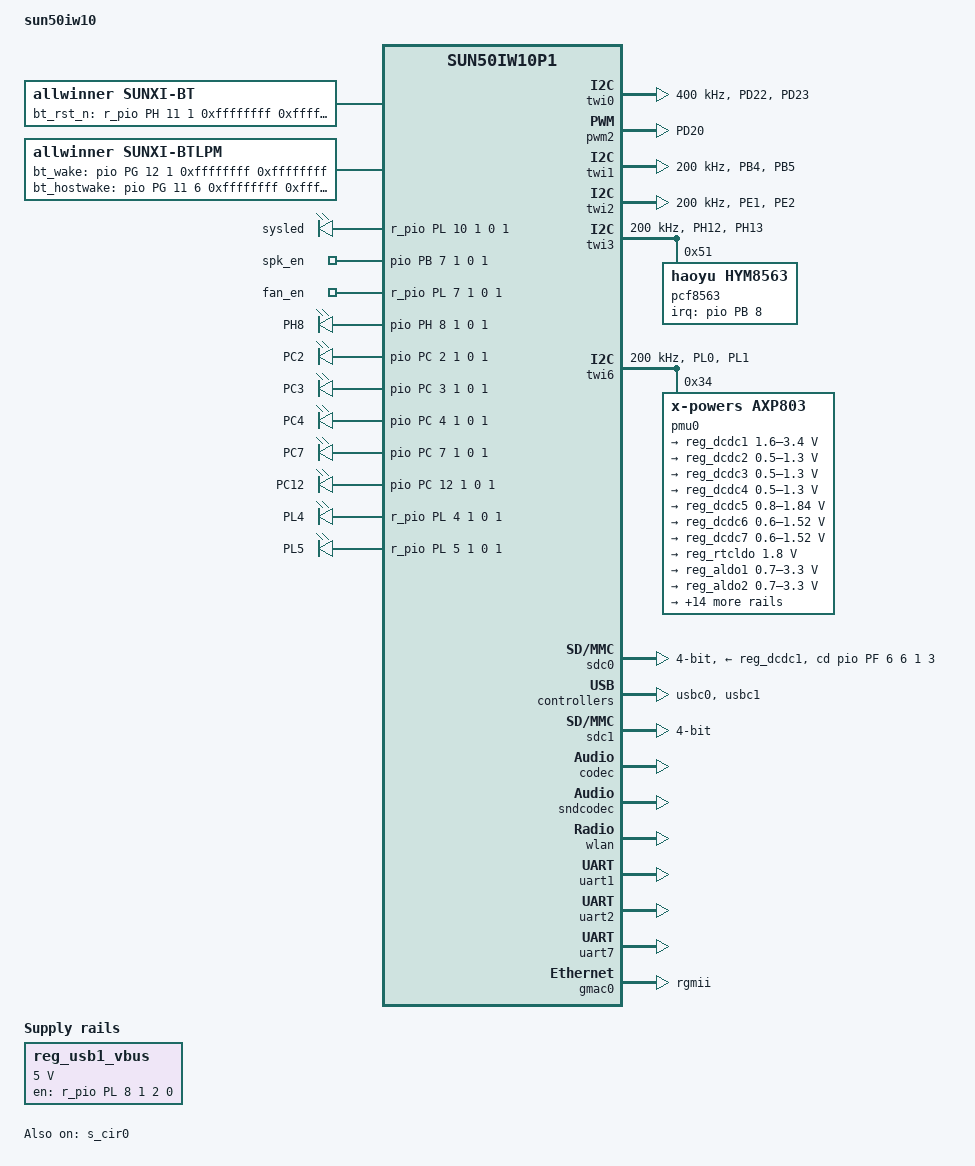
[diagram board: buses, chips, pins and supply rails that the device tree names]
/*
 * Allwinner Technology CO., Ltd. sun50iw10p1 soc board.
 *
 * soc board support.
 */

/dts-v1/;
#include "sun50iw10p1.dtsi"
#include "dt-bindings/input/linux-event-codes.h"

/{
	model = "sun50iw10";
	compatible = "allwinner,a133", "arm,sun50iw10p1";

	aliases {
		pmu0 = &pmu0;
		standby_param = &standby_param;
	};

	reg_usb1_vbus: usb1-vbus {
		compatible = "regulator-fixed";
		gpio = <&r_pio PL 8 1 2 0 1>;
		regulator-name = "usb1-vbus";
		regulator-min-microvolt = <5000000>;
		regulator-max-microvolt = <5000000>;
		regulator-enable-ramp-delay = <1000>;
		enable-active-high;
	};

	soc: soc@03000000 {

		r_pio: pinctrl@07022000 {

			s_twi0_pins_a: s_twi0@0 {
				allwinner,pins = "PL0", "PL1";
				allwinner,pname = "s_twi0_scl", "s_twi0_sda";
				allwinner,function = "s_twi0";
				allwinner,muxsel = <2>;
				allwinner,drive = <1>;
				allwinner,pull = <1>;
			};

			s_twi0_pins_b: s_twi0@1 {
				allwinner,pins = "PL0", "PL1";
				allwinner,function = "io_disabled";
				allwinner,muxsel = <7>;
				allwinner,drive = <1>;
				allwinner,pull = <0>;
			};
		};
		pio: pinctrl@0300b000 {
                        twi0_pins_a: twi0@0 {
                                allwinner,pins = "PD22", "PD23";
                                allwinner,pname = "twi0_scl", "twi0_sda";
                                allwinner,function = "twi0";
                                allwinner,muxsel = <4>;
                                allwinner,drive = <1>;
                                allwinner,pull = <0>;
                        };

                        twi0_pins_b: twi0@1 {
                                allwinner,pins = "PD22", "PD23";
                                allwinner,function = "io_disabled";
                                allwinner,muxsel = <7>;
                                allwinner,drive = <1>;
                                allwinner,pull = <0>;
                        };

			twi1_pins_a: twi1@0 {
				allwinner,pins = "PB4", "PB5";
				allwinner,pname = "twi1_scl", "twi1_sda";
				allwinner,function = "twi1";
				allwinner,muxsel = <2>;
				allwinner,drive = <1>;
				allwinner,pull = <0>;
			};

			twi1_pins_b: twi1@1 {
				allwinner,pins = "PB4", "PB5";
				allwinner,function = "io_disabled";
				allwinner,muxsel = <7>;
				allwinner,drive = <1>;
				allwinner,pull = <0>;
			};

			twi2_pins_a: twi2@0 {
				allwinner,pins = "PE1", "PE2";
				allwinner,pname = "twi2_scl", "twi2_sda";
				allwinner,function = "twi2";
				allwinner,muxsel = <2>;
				allwinner,drive = <1>;
				allwinner,pull = <0>;
			};

			twi2_pins_b: twi2@1 {
				allwinner,pins = "PE1", "PE2";
				allwinner,function = "io_disabled";
				allwinner,muxsel = <7>;
				allwinner,drive = <1>;
				allwinner,pull = <0>;
			};

			twi3_pins_a: twi3@0 {
				allwinner,pins = "PH12", "PH13";
				allwinner,pname = "twi3_scl", "twi3_sda";
				allwinner,function = "twi3";
				allwinner,muxsel = <3>;
				allwinner,drive = <1>;
				allwinner,pull = <1>;
			};

			twi3_pins_b: twi3@1 {
				allwinner,pins = "PH12", "PH13";
				allwinner,function = "io_disabled";
				allwinner,muxsel = <7>;
				allwinner,drive = <1>;
				allwinner,pull = <0>;
			};
/*
			pwm0_pin_a: pwm0@0 {
				//allwinner,pins = "PD23";
				allwinner,function = "pwm0";
				allwinner,muxsel = <0x02>;
				allwinner,drive = <0x2>;
				allwinner,pull = <0>;
				allwinner,data = <0xffffffff>;
			};

			pwm0_pin_b: pwm0@1 {
				//allwinner,pins = "PD23";
				allwinner,function = "io_disabled";
				allwinner,muxsel = <0x07>;
				allwinner,drive = <0x2>;
				allwinner,pull = <0>;
				allwinner,data = <0xffffffff>;
			};

			pwm1_pin_a: pwm1@0 {
				//allwinner,pins = "PD22";
				allwinner,function = "pwm1";
				allwinner,muxsel = <0x02>;
				allwinner,drive = <0x2>;
				allwinner,pull = <0>;
				allwinner,data = <0xffffffff>;
			};

			pwm1_pin_b: pwm1@1 {
				//allwinner,pins = "PD22";
				allwinner,function = "io_disabled";
				allwinner,muxsel = <0x07>;
				allwinner,drive = <0x2>;
				allwinner,pull = <0>;
				allwinner,data = <0xffffffff>;
			};
*/
			pwm2_pin_a: pwm2@0 {
				allwinner,pins = "PD20";
				allwinner,function = "pwm2";
				allwinner,muxsel = <0x03>;
				allwinner,drive = <0x2>;
				allwinner,pull = <0>;
				allwinner,data = <0xffffffff>;
			};

			pwm2_pin_b: pwm2@1 {
				allwinner,pins = "PD20";
				allwinner,function = "io_disabled";
				allwinner,muxsel = <0x07>;
				allwinner,drive = <0x2>;
				allwinner,pull = <0>;
				allwinner,data = <0xffffffff>;
			};
/*
			pwm3_pin_a: pwm3@0 {
				allwinner,pins = "PD21";
				allwinner,function = "pwm3";
				allwinner,muxsel = <0x03>;
				allwinner,drive = <0x2>;
				allwinner,pull = <0>;
				allwinner,data = <0xffffffff>;
			};

			pwm3_pin_b: pwm3@1 {
				allwinner,pins = "PD21";
				allwinner,function = "io_disabled";
				allwinner,muxsel = <0x07>;
				allwinner,drive = <0x2>;
				allwinner,pull = <0>;
				allwinner,data = <0xffffffff>;
			};
*/
			spi0_pins_a: spi0@0 {
				// allwinner,pins = "PC2", "PC4", "PC12", "PC15", "PC16";
				allwinner,pins = "PC2", "PC4", "PC12";
				// allwinner,pname = "spi0_mosi", "spi0_miso",
				// 		  "spi0_sclk", "spi0_wp", "spi0_hold";
				allwinner,pname = "spi0_mosi", "spi0_miso", "spi0_sclk";
				allwinner,function = "spi0";
				allwinner,muxsel = <4>;
				allwinner,drive = <1>;
				allwinner,pull = <0>;
			};

			spi0_pins_b: spi0@1 {
				allwinner,pins = "PC3", "PC7";
				allwinner,pname = "spi0_cs0", "spi0_cs1";
				allwinner,function = "spi0";
				allwinner,muxsel = <4>;
				allwinner,drive = <1>;
				allwinner,pull = <1>;	/* only CS should be pulled up */
			};

			spi0_pins_c: spi0@2 {
				// allwinner,pins = "PC2", "PC3", "PC4", "PC7", "PC12", "PC15", "PC16";
				allwinner,pins = "PC2", "PC3", "PC4", "PC7", "PC12";
				allwinner,function = "io_disabled";
				allwinner,muxsel = <7>;
				allwinner,drive = <1>;
				allwinner,pull = <0>;
			};
/*
			spi1_pins_a: spi1@0 {
				allwinner,pins = "PD11", "PD12", "PD13";
				allwinner,pname = "spi1_sclk", "spi1_mosi",
						  "spi1_miso";
				allwinner,function = "spi1";
				allwinner,muxsel = <4>;
				allwinner,drive = <1>;
				allwinner,pull = <0>;
			};

			spi1_pins_b: spi1@1 {
				allwinner,pins = "PD10";
				allwinner,pname = "spi1_cs0";
				allwinner,function = "spi1";
				allwinner,muxsel = <4>;
				allwinner,drive = <1>;
				allwinner,pull = <1>;	// only CS should be pulled up 
			};

			spi1_pins_c: spi1@2 {
				allwinner,pins = "PD10", "PD11", "PD12", "PD13";
				allwinner,function = "io_disabled";
				allwinner,muxsel = <7>;
				allwinner,drive = <1>;
				allwinner,pull = <0>;
			};

                        uart3_pins_a: uart3@0 {
                                allwinner,pins = "PD14", "PD15";
                                allwinner,pname = "uart3_tx", "uart3_rx";
                                allwinner,function = "uart3";
                                allwinner,muxsel = <4>;
                                allwinner,drive = <1>;
                                allwinner,pull = <1>;
                        };

                        uart3_pins_b: uart3@1 {
                                allwinner,pins = "PD14", "PD15";
                                allwinner,function = "io_disabled";
                                allwinner,muxsel = <7>;
                                allwinner,drive = <1>;
                                allwinner,pull = <0>;
                        };

			uart4_pins_a: uart4@0 {
                                allwinner,pins = "PD18", "PD19";
                                allwinner,pname = "uart4_tx", "uart4_rx";
                                allwinner,function = "uart4";
                                allwinner,muxsel = <4>;
                                allwinner,drive = <1>;
                                allwinner,pull = <1>;
                        };

                        uart4_pins_b: uart4@1 {
                                allwinner,pins = "PD18", "PD19";
                                allwinner,pins = "PD18", "PD19";
                                allwinner,function = "io_disabled";
                                allwinner,muxsel = <7>;
                                allwinner,drive = <1>;
                                allwinner,pull = <0>;
                        };
*/
		};

		twi0: twi@0x05002000{
			clock-frequency = <400000>;
			pinctrl-0 = <&twi0_pins_a>;
			pinctrl-1 = <&twi0_pins_b>;
			status = "okay";
		};

		spi0: spi@05010000 {
                        #address-cells = <1>;
                        #size-cells = <0>;
                        compatible = "allwinner,sun50i-spi";
                        device_type = "spi0";
                        reg = <0x0 0x05010000 0x0 0x1000>;
                        interrupts = <GIC_SPI 13 IRQ_TYPE_LEVEL_HIGH>;
                        clocks = <&clk_pll_periph0>, <&clk_spi0>;
                        clock-frequency = <100000000>;
                        pinctrl-names = "default", "sleep";
                        pinctrl-0 = <&spi0_pins_a &spi0_pins_b>;
                        pinctrl-1 = <&spi0_pins_c>;
                        spi0_cs_number = <1>;
                        spi0_cs_bitmap = <1>;
						spi_slave_mode = <0>;
                        //status = "okay";
                        status = "disabled";
						/*
                        spi_uart {
                                compatible = "wkmic,wk2124spi";
                                reg = <0>;
                                spi-max-frequency = <10000000>;
                                //irq_gpio = <&pio PH 11 6 0xffffffff 0xffffffff 0>;
                        };
						*/

						dh2228@2 {
                        	compatible = "rohm,dh2228fv";
                        	reg = <0>;
                        	spi-max-frequency = <100000>;
                		};

                };
/*
                pwm3: pwm3@0300a000 {
                        pinctrl-names = "active", "sleep";
                        pinctrl-0 = <&pwm3_pin_a>;
                        pinctrl-1 = <&pwm3_pin_b>;
						status = "disabled";
                };
*/
                pwm2: pwm2@0300a000 {
                        pinctrl-names = "active", "sleep";
                        pinctrl-0 = <&pwm2_pin_a>;
                        pinctrl-1 = <&pwm2_pin_b>;
						status = "okay";
                };

		twi1: twi@0x05002400{
			clock-frequency = <200000>;
			pinctrl-0 = <&twi1_pins_a>;
			pinctrl-1 = <&twi1_pins_b>;
			status = "okay";
			// EXTEND GPIO
		};

		twi2: twi@0x05002800{
			clock-frequency = <200000>;
			pinctrl-0 = <&twi2_pins_a>;
			pinctrl-1 = <&twi2_pins_b>;
			twi-supply = <&reg_dldo2>;
			status = "okay";
			// CAMERA1

			// CAMERA2
		};

		twi3: twi@0x05002c00{
			clock-frequency = <200000>;
			pinctrl-0 = <&twi3_pins_a>;
			pinctrl-1 = <&twi3_pins_b>;
			status = "okay";
			// RTC
			pcf8563@51 {
					compatible = "haoyu,hym8563";
					reg = <0x51>;
					interrupt-parent = <&pio>;
					interrupts = <PB 8 IRQ_TYPE_LEVEL_LOW>;
					status = "okay";
					wakeup-source;
			};
		};

		twi6: s_twi@0x07081400{
			clock-frequency = <200000>;
			pinctrl-0 = <&s_twi0_pins_a>;
			pinctrl-1 = <&s_twi0_pins_b>;
			twi_drv_used = <1>;
			status = "okay";
			no_suspend = <1>;

			pmu0: pmu@34 {
				compatible = "x-powers,axp803";
				reg = <0x34>;
				status = "okay";
				interrupts = <0 IRQ_TYPE_LEVEL_LOW>;
				interrupt-parent = <&nmi_intc>;
				x-powers,drive-vbus-en;
				pmu_reset = <0>;
				pmu_irq_wakeup = <1>;
				pmu_hot_shutdown = <1>;

				wakeup-source;

				ac_power_supply: ac-power-supply {
					compatible = "x-powers,axp803-ac-power-supply";
					status = "okay";

					pmu_ac_vol = <4600>;
					pmu_ac_cur = <3000>;

					wakeup_ac_in;
					wakeup_ac_out;
				};

				usb_power_supply: usb_power_supply {
					compatible = "x-powers,axp803-usb-power-supply";
					status = "disabled";

					pmu_usbpc_vol = <4600>;
					pmu_usbpc_cur = <3000>;
					pmu_usbad_vol = <4600>;
					pmu_usbad_cur = <2500>;

					wakeup_usb_in;
					wakeup_usb_out;
				};

				battery_power_supply: battery-power-supply {
					compatible = "x-powers,axp803-battery-power-supply";
					status = "okay";

					pmu_chg_ic_temp = <0>;
					pmu_battery_rdc= <93>;
					pmu_battery_cap = <5067>;
					pmu_runtime_chgcur = <1000>;
					pmu_suspend_chgcur = <2000>;
					pmu_shutdown_chgcur = <2000>;
					pmu_init_chgvol = <4200>;
					pmu_battery_warning_level1 = <15>;
					pmu_battery_warning_level2 = <0>;
					pmu_chgled_func = <0>;
					pmu_chgled_type = <0>;
					ocv_coulumb_100 = <1>;
					pmu_bat_para1 = <0>;
					pmu_bat_para2 = <0>;
					pmu_bat_para3 = <0>;
					pmu_bat_para4 = <0>;
					pmu_bat_para5 = <6>;
					pmu_bat_para6 = <8>;
					pmu_bat_para7 = <9>;
					pmu_bat_para8 = <10>;
					pmu_bat_para9 = <11>;
					pmu_bat_para10 = <12>;
					pmu_bat_para11 = <13>;
					pmu_bat_para12 = <15>;
					pmu_bat_para13 = <18>;
					pmu_bat_para14 = <23>;
					pmu_bat_para15 = <29>;
					pmu_bat_para16 = <44>;
					pmu_bat_para17 = <50>;
					pmu_bat_para18 = <58>;
					pmu_bat_para19 = <65>;
					pmu_bat_para20 = <70>;
					pmu_bat_para21 = <75>;
					pmu_bat_para22 = <80>;
					pmu_bat_para23 = <83>;
					pmu_bat_para24 = <84>;
					pmu_bat_para25 = <86>;
					pmu_bat_para26 = <90>;
					pmu_bat_para27 = <94>;
					pmu_bat_para28 = <97>;
					pmu_bat_para29 = <99>;
					pmu_bat_para30 = <100>;
					pmu_bat_para31 = <100>;
					pmu_bat_para32 = <100>;

					pmu_bat_temp_enable = <0>;
					pmu_bat_charge_ltf = <1105>;
					pmu_bat_charge_htf = <121>;
					pmu_bat_shutdown_ltf = <1381>;
					pmu_bat_shutdown_htf = <89>;
					pmu_bat_temp_para1 = <2814>;
					pmu_bat_temp_para2 = <2202>;
					pmu_bat_temp_para3 = <1737>;
					pmu_bat_temp_para4 = <1381>;
					pmu_bat_temp_para5 = <1105>;
					pmu_bat_temp_para6 = <890>;
					pmu_bat_temp_para7 = <722>;
					pmu_bat_temp_para8 = <484>;
					pmu_bat_temp_para9 = <332>;
					pmu_bat_temp_para10 = <233>;
					pmu_bat_temp_para11 = <196>;
					pmu_bat_temp_para12 = <166>;
					pmu_bat_temp_para13 = <141>;
					pmu_bat_temp_para14 = <121>;
					pmu_bat_temp_para15 = <89>;
					pmu_bat_temp_para16 = <66>;

					wakeup_bat_out;
					/* wakeup_bat_in; */
					/* wakeup_bat_charging; */
					/* wakeup_bat_charge_over; */
					/* wakeup_low_warning1; */
					/* wakeup_low_warning2; */
					/* wakeup_bat_untemp_work; */
					/* wakeup_bat_ovtemp_work; */
					/* wakeup_bat_untemp_chg; */
					/* wakeup_bat_ovtemp_chg; */
				};

				powerkey0: powerkey@0 {
					status = "okay";
					compatible = "x-powers,axp2101-pek";
					pmu_powkey_off_time = <6000>;
					pmu_powkey_off_func = <0>;
					pmu_powkey_off_en = <1>;
					pmu_powkey_long_time = <1500>;
					pmu_powkey_on_time = <512>;
					wakeup_rising;
					wakeup_falling;
				};

				regulator0: regulators@0 {
					reg_dcdc1: dcdc1 {
						regulator-name = "axp803-dcdc1";
						regulator-min-microvolt = <1600000>;
						regulator-max-microvolt = <3400000>;
						regulator-ramp-delay = <250>;
						regulator-enable-ramp-delay = <1000>;
						regulator-boot-on;
						regulator-always-on;
					};
					reg_dcdc2: dcdc2 {
						regulator-name = "axp803-dcdc2";
						regulator-min-microvolt = <500000>;
						regulator-max-microvolt = <1300000>;
						regulator-ramp-delay = <250>;
						regulator-enable-ramp-delay = <1000>;
						regulator-boot-on;
						regulator-always-on;
					};
					reg_dcdc3: dcdc3 {
						regulator-name = "axp803-dcdc3";
						regulator-min-microvolt = <500000>;
						regulator-max-microvolt = <1300000>;
						regulator-ramp-delay = <250>;
						regulator-enable-ramp-delay = <1000>;
						regulator-boot-on;
						regulator-always-on;
					};
					reg_dcdc4: dcdc4 {
						regulator-name = "axp803-dcdc4";
						regulator-min-microvolt = <500000>;
						regulator-max-microvolt = <1300000>;
						regulator-ramp-delay = <250>;
						regulator-enable-ramp-delay = <1000>;
						regulator-boot-on;
						regulator-always-on;
					};
					reg_dcdc5: dcdc5 {
						regulator-name = "axp803-dcdc5";
						regulator-min-microvolt = <800000>;
						regulator-max-microvolt = <1840000>;
						regulator-ramp-delay = <250>;
						regulator-enable-ramp-delay = <1000>;
						regulator-always-on;
					};
					reg_dcdc6: dcdc6 {
						regulator-name = "axp803-dcdc6";
						regulator-min-microvolt = <600000>;
						regulator-max-microvolt = <1520000>;
						regulator-ramp-delay = <250>;
						regulator-enable-ramp-delay = <1000>;
					};
					reg_dcdc7: dcdc7 {
						regulator-name = "axp803-dcdc7";
						regulator-min-microvolt = <600000>;
						regulator-max-microvolt = <1520000>;
						regulator-ramp-delay = <250>;
						regulator-enable-ramp-delay = <1000>;
					};
					reg_rtcldo: rtcldo {
						/* RTC_LDO is a fixed, always-on regulator */
						regulator-name = "axp803-rtcldo";
						regulator-min-microvolt = <1800000>;
						regulator-max-microvolt = <1800000>;
						regulator-boot-on;
						regulator-always-on;
					};
					reg_aldo1: aldo1 {
						regulator-name = "axp803-aldo1";
						regulator-min-microvolt = <700000>;
						regulator-max-microvolt = <3300000>;
						regulator-enable-ramp-delay = <1000>;
						regulator-boot-on;
						regulator-always-on;
					};
					reg_aldo2: aldo2 {
						regulator-name = "axp803-aldo2";
						regulator-min-microvolt = <700000>;
						regulator-max-microvolt = <3300000>;
						regulator-enable-ramp-delay = <1000>;
						regulator-always-on;
					};
					reg_aldo3: aldo3 {
						regulator-name = "axp803-aldo3";
						regulator-min-microvolt = <700000>;
						regulator-max-microvolt = <3300000>;
						regulator-enable-ramp-delay = <1000>;
						regulator-always-on;
						regulator-boot-on;
					};
					reg_dldo1: dldo1 {
						regulator-name = "axp803-dldo1";
						regulator-min-microvolt = <1800000>;
						regulator-max-microvolt = <1900000>;
						regulator-enable-ramp-delay = <1000>;
						regulator-always-on;
						regulator-boot-on;
					};
					reg_dldo2: dldo2 {
						regulator-name = "axp803-dldo2";
						regulator-min-microvolt = <700000>;
						regulator-max-microvolt = <4200000>;
						regulator-enable-ramp-delay = <1000>;
						regulator-always-on;
						regulator-boot-on;
					};
					reg_dldo3: dldo3 {
						regulator-name = "axp803-dldo3";
						regulator-min-microvolt = <700000>;
						regulator-max-microvolt = <3300000>;
						regulator-enable-ramp-delay = <1000>;
					};
					reg_dldo4: dldo4 {
						regulator-name = "axp803-dldo4";
						regulator-min-microvolt = <700000>;
						regulator-max-microvolt = <3300000>;
						regulator-enable-ramp-delay = <1000>;
					};
					reg_eldo1: eldo1 {
						regulator-name = "axp803-eldo1";
						regulator-min-microvolt = <700000>;
						regulator-max-microvolt = <1900000>;
						regulator-enable-ramp-delay = <1000>;
					};
					reg_eldo2: eldo2 {
						regulator-name = "axp803-eldo2";
						regulator-min-microvolt = <700000>;
						regulator-max-microvolt = <1900000>;
						regulator-enable-ramp-delay = <1000>;
					};
					reg_eldo3: eldo3 {
						regulator-name = "axp803-eldo3";
						regulator-min-microvolt = <700000>;
						regulator-max-microvolt = <1900000>;
						regulator-enable-ramp-delay = <1000>;
						regulator-always-on;
						regulator-boot-on;
					};
					reg_fldo1: fldo1 {
						regulator-name = "axp803-fldo1";
						regulator-min-microvolt = <700000>;
						regulator-max-microvolt = <1450000>;
						regulator-enable-ramp-delay = <1000>;
						regulator-always-on;
					};
					reg_fldo2: fldo2 {
						regulator-name = "axp803-fldo2";
						regulator-min-microvolt = <700000>;
						regulator-max-microvolt = <1450000>;
						regulator-enable-ramp-delay = <1000>;
					};
					reg_ldoio0: ldoio0 {
						regulator-name = "axp803-ldoio0";
						regulator-min-microvolt = <700000>;
						regulator-max-microvolt = <3300000>;
						regulator-enable-ramp-delay = <1000>;
						regulator-boot-on;
						regulator-always-on;
					};
					reg_ldoio1: ldoio1 {
						regulator-name = "axp803-ldoio1";
						regulator-min-microvolt = <700000>;
						regulator-max-microvolt = <3300000>;
						regulator-enable-ramp-delay = <1000>;
					};
					reg_dc1sw: dc1sw {
						regulator-name = "axp803-dc1sw";
						regulator-enable-ramp-delay = <1000>;
					};
					reg_drivevbus: drivevbus {
						regulator-name = "axp803-drivevbus";
						regulator-enable-ramp-delay = <1000>;
					};
				};

				virtual-dcdc1 {
					compatible = "xpower-vregulator,dcdc1";
					dcdc1-supply = <&reg_dcdc1>;
				};
				virtual-dcdc2 {
					compatible = "xpower-vregulator,dcdc2";
					dcdc2-supply = <&reg_dcdc2>;
				};
				virtual-dcdc3 {
					compatible = "xpower-vregulator,dcdc3";
					dcdc3-supply = <&reg_dcdc3>;
				};
				virtual-dcdc4 {
					compatible = "xpower-vregulator,dcdc4";
					dcdc4-supply = <&reg_dcdc4>;
				};
				virtual-dcdc5 {
					compatible = "xpower-vregulator,dcdc5";
					dcdc5-supply = <&reg_dcdc5>;
				};
				virtual-dcdc6 {
					compatible = "xpower-vregulator,dcdc6";
					dcdc6-supply = <&reg_dcdc6>;
				};
				virtual-dcdc7 {
					compatible = "xpower-vregulator,dcdc7";
					dcdc7-supply = <&reg_dcdc7>;
				};
				virtual-rtcldo {
					compatible = "xpower-vregulator,rtcldo";
					rtcldo-supply = <&reg_rtcldo>;
				};
				virtual-aldo1 {
					compatible = "xpower-vregulator,aldo1";
					aldo1-supply = <&reg_aldo1>;
				};
				virtual-aldo2 {
					compatible = "xpower-vregulator,aldo2";
					aldo2-supply = <&reg_aldo2>;
				};
				virtual-aldo3 {
					compatible = "xpower-vregulator,aldo3";
					aldo3-supply = <&reg_aldo3>;
				};
				virtual-dldo1 {
					compatible = "xpower-vregulator,dldo1";
					dldo1-supply = <&reg_dldo1>;
				};
				virtual-dldo2 {
					compatible = "xpower-vregulator,dldo2";
					dldo2-supply = <&reg_dldo2>;
				};
				virtual-dldo3 {
					compatible = "xpower-vregulator,dldo3";
					dldo3-supply = <&reg_dldo3>;
				};
				virtual-dldo4 {
					compatible = "xpower-vregulator,dldo4";
					dldo4-supply = <&reg_dldo4>;
				};
				virtual-eldo1 {
					compatible = "xpower-vregulator,eldo1";
					eldo1-supply = <&reg_eldo1>;
				};
				virtual-eldo2 {
					compatible = "xpower-vregulator,eldo2";
					eldo2-supply = <&reg_eldo2>;
				};
				virtual-eldo3 {
					compatible = "xpower-vregulator,eldo3";
					eldo3-supply = <&reg_eldo3>;
				};
				virtual-fldo1 {
					compatible = "xpower-vregulator,fldo1";
					fldo1-supply = <&reg_fldo1>;
				};
				virtual-fldo2 {
					compatible = "xpower-vregulator,fldo2";
					fldo2-supply = <&reg_fldo2>;
				};
				virtual-ldoio0 {
					compatible = "xpower-vregulator,ldoio0";
					ldoio0-supply = <&reg_ldoio0>;
				};
				virtual-ldoio1 {
					compatible = "xpower-vregulator,ldoio1";
					ldoio1-supply = <&reg_ldoio1>;
				};
				virtual-dc1sw {
					compatible = "xpower-vregulator,dc1sw";
					dc1sw-supply = <&reg_dc1sw>;
				};
				virtual-drivevbus {
					compatible = "xpower-vregulator,drivevbus";
					drivevbus-supply = <&reg_drivevbus>;
				};

				axp_gpio0: axp_gpio@0 {
					gpio-controller;
					#size-cells = <0>;
					#gpio-cells = <6>;
					status = "disabled";
				};
			};
		};

		standby_param: standby_param {
			vdd-cpu = <0x00000006>;
			vdd-sys = <0x00000008>;
			vcc-pll = <0x00000100>;

			osc24m-on = <0x1>;
		};
/*
		pwm0: pwm0@0300a000 {
			pinctrl-names = "active", "sleep";
			pinctrl-0 = <&pwm0_pin_a>;
			pinctrl-1 = <&pwm0_pin_b>;
		};

		spi1: spi@05011000 {
			pinctrl-0 = <&spi1_pins_a &spi1_pins_b>;
			pinctrl-1 = <&spi1_pins_c>;
			spi_slave_mode = <0>;
			status = "disabled";
		};

		spi2: spi@05012000 {
			pinctrl-0 = <&spi2_pins_a &spi2_pins_b>;
			pinctrl-1 = <&spi2_pins_c>;
			spi_slave_mode = <0>;
			status = "disabled";
		};
*/
		gpadc:gpadc{
			channel_num = <1>;
			channel_select = <0x01>;
			channel_data_select = <0>;
			channel_compare_select = <0x01>;
			channel_cld_select = <0x01>;
			channel_chd_select = <0>;
			channel0_compare_lowdata = <1700000>;
			channel0_compare_higdata = <1200000>;
			status = "disabled";
		};

		sdc2: sdmmc@04022000 {
			non-removable;
			bus-width = <8>;
			mmc-ddr-1_8v;
			mmc-hs200-1_8v;
			mmc-hs400-1_8v;
			no-sdio;
			no-sd;
			ctl-spec-caps = <0x308>;
			cap-mmc-highspeed;
			sunxi-power-save-mode;
			sunxi-dis-signal-vol-sw;
			max-frequency = <100000000>;
			vmmc-supply = <&reg_dcdc1>;
			/*emmc io vol 3.3v*/
			/*vqmmc-supply = <&reg_aldo1>;*/
			/*emmc io vol 1.8v*/
			vqmmc-supply = <&reg_eldo1>;
			status = "disabled";
		};

		sdc0: sdmmc@04020000 {
			bus-width = <4>;
			/*non-removable;*/
			/*broken-cd;*/
			/*cd-inverted*/
			/*data3-detect;*/
			cd-used-24M;
			cd-gpios = <&pio PF 6 6 1 3 0xffffffff>;
			cap-sd-highspeed;
			sd-uhs-sdr50;
			sd-uhs-ddr50;
			sd-uhs-sdr104;
			no-sdio;
			no-mmc;
			sunxi-power-save-mode;
			/*sunxi-dis-signal-vol-sw;*/
			max-frequency = <150000000>;
			ctl-spec-caps = <0x8>;
			vmmc-supply = <&reg_dcdc1>;
			vqmmc33sw-supply = <&reg_dcdc1>;
			vdmmc33sw-supply = <&reg_dcdc1>;
			vqmmc18sw-supply = <&reg_eldo1>;
			vdmmc18sw-supply = <&reg_eldo1>;
			status = "okay";
		};

/*
 *usb_port_type: usb mode. 0-device, 1-host, 2-otg.
 *usb_detect_type: usb hotplug detect mode. 0-none, 1-vbus/id detect, 2-id/dpdm detect.
 *usb_id_gpio: gpio for id detect.
 *usb_det_vbus_gpio: gpio for id detect. gpio or "axp_ctrl";
 *usb_wakeup_suspend：0-SUPER_STANDBY, 1-USB_STANDBY.
 */
		usbc0:usbc0@0 {
			device_type = "usbc0";
			usb_port_type = <0x0>;
			usb_detect_type = <0x1>;
			usb_id_gpio = <&r_pio PL 9 0 0 0xffffffff 0xffffffff>;
			usb_det_vbus_gpio   = "axp_ctrl";
			usb_regulator_io = "nocare";
			det_vbus_supply = <&usb_power_supply>;
			usb_wakeup_suspend = <1>;
			usb_serial_unique = <0>;
			usb_serial_number = "20080411";
			rndis_wceis = <1>;
			status = "okay";
		};

		udc:udc-controller@0x05100000 {
			det_vbus_supply = <&usb_power_supply>;
		};

		ehci0:ehci0-controller@0x05101000 {
			drvvbus-supply = <&reg_drivevbus>;
		};

		ohci0:ohci0-controller@0x05101400 {
			drvvbus-supply = <&reg_drivevbus>;
		};

		usbc1:usbc1@0 {
			device_type = "usbc1";
			usb_regulator_io = "nocare";
			usb_wakeup_suspend = <0>;
			status = "okay";
		};

		ehci1:ehci1-controller@0x05200000 {
			drvvbus-supply = <&reg_usb1_vbus>;
		};

		ohci1:ohci1-controller@0x05200400 {
			drvvbus-supply = <&reg_usb1_vbus>;
		};

		sdc1: sdmmc@04021000 {
                        bus-width = <4>;
                        no-mmc;
                        no-sd;
                        cap-sd-highspeed;
                        /*sd-uhs-sdr12*/
                        /*sd-uhs-sdr25*/
                        sd-uhs-sdr50;
                        sd-uhs-ddr50;
                        sd-uhs-sdr104;
                        //sunxi-power-save-mode;
                        /*sunxi-dis-signal-vol-sw;*/
                        sdio-used-1v8;
                        cap-sdio-irq;
                        keep-power-in-suspend;
                        ignore-pm-notify;
                        max-frequency = <50000000>;
                        ctl-spec-caps = <0x8>;
                        status = "okay";

		};

		/* gpio-spk will output 0x00 when playing audio */
		/* Audio Driver Modules */
		codec:codec@0x05096000 {
			/* MIC and headphone gain setting */
			mic1gain 	= <0x1F>;
			mic2gain 	= <0x1F>;
			/* ADC/DAC DRC/HPF func enabled */
                        /* 0x1:DAP_HP_EN; 0x2:DAP_SPK_EN; 0x3:DAP_HPSPK_EN */
			adcdrc_cfg 	= <0x2>;
			adchpf_cfg 	= <0x1>;
			dacdrc_cfg 	= <0x2>;
			dachpf_cfg 	= <0x0>;
			/* Volume about */
			digital_vol 	= <0x00>;
			lineout_vol 	= <0x1a>;
			headphonegain	= <0x00>;
			/* Pa enabled about */
			pa_level 	= <0x00>;
			pa_msleep_time 	= <0x78>;
			//gpio-spk = <&pio PB 7 1 1 1 1>;
			/* regulator about */
			avcc-supply = <&reg_aldo1>;
			cpvin-supply = <&reg_eldo1>;
			status = "okay";
		};

		sndcodec:sound@0 {
			status = "okay";
		};

		spdif:spdif-controller@0x05094000{
			status = "disabled";
		};

		sndspdif:sound@1{
			status = "disabled";
		};

		dmic:dmic-controller@0x05095000{
			status = "disabled";
		};

		snddmic:sound@2{
			status = "disabled";
		};

		daudio0:daudio@0x05090000 {
			mclk_div 	= <0x01>;
			frametype 	= <0x00>;
			tdm_config 	= <0x01>;
			sign_extend 	= <0x00>;
			tx_data_mode 	= <0x00>;
			rx_data_mode 	= <0x00>;
			msb_lsb_first 	= <0x00>;
			pcm_lrck_period = <0x80>;
			audio_format 	= <0x01>;
			daudio_master 	= <0x04>;
			signal_inversion  = <0x01>;
			slot_width_select = <0x20>;
			status = "disabled";
		};

		snddaudio0:sound@3 {
/*			sunxi,snddaudio-codec = "ac108.1-003b";
			sunxi,snddaudio-codec-dai = "ac108-pcm0";*/

/*			sunxi,snddaudio-codec = "ac107.1-0036";
			sunxi,snddaudio-codec-dai = "ac107-pcm0"; */
			status = "disabled";
		};

		daudio1:daudio@0x05091000 {
			mclk_div 	= <0x01>;
			frametype 	= <0x00>;
			tdm_config 	= <0x01>;
			sign_extend 	= <0x00>;
			tx_data_mode 	= <0x00>;
			rx_data_mode 	= <0x00>;
			msb_lsb_first 	= <0x00>;
			pcm_lrck_period = <0x80>;
			audio_format 	= <0x01>;
			daudio_master 	= <0x04>;
			signal_inversion  = <0x01>;
			slot_width_select = <0x20>;
			status = "disabled";
		};

		snddaudio1:sound@4 {
			status = "disabled";
		};

		daudio2:daudio@0x05092000 {
			mclk_div 	= <0x01>;
			frametype 	= <0x00>;
			tdm_config 	= <0x01>;
			sign_extend 	= <0x00>;
			tx_data_mode 	= <0x00>;
			rx_data_mode 	= <0x00>;
			msb_lsb_first 	= <0x00>;
			pcm_lrck_period = <0x80>;
			audio_format 	= <0x01>;
			daudio_master 	= <0x04>;
			signal_inversion  = <0x01>;
			slot_width_select = <0x20>;
			status = "disabled";
		};

		snddaudio2:sound@5 {
			status = "disabled";
		};

		daudio3:daudio@0x05093000 {
			mclk_div 	= <0x01>;
			frametype 	= <0x00>;
			tdm_config 	= <0x01>;
			sign_extend 	= <0x00>;
			tx_data_mode 	= <0x00>;
			rx_data_mode 	= <0x00>;
			msb_lsb_first 	= <0x00>;
			pcm_lrck_period = <0x80>;
			audio_format 	= <0x01>;
			daudio_master 	= <0x04>;
			signal_inversion  = <0x01>;
			slot_width_select = <0x20>;
			status = "disabled";
		};

		snddaudio3:sound@6 {
			status = "disabled";
		};

		vind0:vind@0 {
			vind0_clk = <336000000>;
			vind0_isp = <300000000>;
			status = "disabled";

			actuator0:actuator@0 {
				device_type = "actuator0";
				actuator0_name = "ad5820_act";
				actuator0_slave = <0x18>;
				actuator0_af_pwdn = <>;
				actuator0_afvdd = "afvcc-csi";
				actuator0_afvdd_vol = <2800000>;
				status = "disabled";
			};
			flash0:flash@0 {
				device_type = "flash0";
				flash0_type = <2>;
				flash0_en = <&r_pio PL 11 1 0 1 0>;
				flash0_mode = <>;
				flash0_flvdd = "";
				flash0_flvdd_vol = <>;
				device_id = <0>;
				status = "disabled";
			};
			sensor0:sensor@0 {
				device_type = "sensor0";
				sensor1_mname = "ov8858_r2a_4lane";
				sensor0_twi_cci_id = <2>;
				sensor0_twi_addr = <0x6c>;
				//sensor0_twi_addr = <0x20>;

				sensor0_mclk_id = <0>;
				sensor0_pos = "rear";
				sensor0_isp_used = <1>;
				sensor0_fmt = <1>;
				sensor0_stby_mode = <0>;
				sensor0_vflip = <0>;
				sensor0_hflip = <0>;
				sensor0_iovdd-supply = <&reg_dldo2>;
				sensor0_iovdd_vol = <1800000>;
				sensor0_avdd-supply = <&reg_dldo3>;
				sensor0_avdd_vol = <2800000>;
				sensor0_dvdd-supply = <&reg_eldo2>;
				sensor0_dvdd_vol = <1200000>;
				sensor0_power_en = <>;
				sensor0_reset = <&pio PE 6 1 0 1 0>;
				sensor0_pwdn =  <&pio PE 7 1 0 1 0>;
				status	= "okay";
			};
			sensor1:sensor@1 {
				device_type = "sensor1";
				sensor1_mname = "ov5648_mipi";
				sensor1_twi_cci_id = <3>;
				sensor1_twi_addr = <0x6c>;
				sensor1_mclk_id = <1>;
				sensor1_pos = "front";
				sensor1_isp_used = <1>;
				sensor1_fmt = <1>;
				sensor1_stby_mode = <0>;
				sensor1_vflip = <0>;
				sensor1_hflip = <0>;
				sensor1_iovdd-supply = <&reg_dldo2>;
				sensor1_iovdd_vol = <1800000>;
				sensor1_avdd-supply = <&reg_dldo3>;
				sensor1_avdd_vol = <2800000>;
				sensor1_dvdd-supply = <&reg_eldo2>;
				sensor1_dvdd_vol = <1500000>;
				sensor1_power_en = <>;
				sensor1_reset = <&pio PE 8 1 0 1 0>;
				sensor1_pwdn =  <&pio PE 9 1 0 1 0>;
				status	= "okay";
			};

			vinc0:vinc@0 {
				vinc0_csi_sel = <0>;
				vinc0_mipi_sel = <0>;
				vinc0_isp_sel = <0>;
				vinc0_isp_tx_ch = <0>;
				vinc0_tdm_rx_sel = <0xff>;
				vinc0_rear_sensor_sel = <0>;
				vinc0_front_sensor_sel = <1>;
				vinc0_sensor_list = <0>;
				status = "okay";
			};
			vinc1:vinc@1 {
				vinc1_csi_sel = <0>;
				vinc1_mipi_sel = <0>;
				vinc1_isp_sel = <0>;
				vinc1_isp_tx_ch = <0>;
				vinc1_tdm_rx_sel = <0xff>;
				vinc1_rear_sensor_sel = <0>;
				vinc1_front_sensor_sel = <1>;
				vinc1_sensor_list = <0>;
				status = "okay";
			};
			vinc2:vinc@2 {
				vinc2_csi_sel = <1>;
				vinc2_mipi_sel = <1>;
				vinc2_isp_sel = <0>;
				vinc2_isp_tx_ch = <0>;
				vinc2_tdm_rx_sel = <0xff>;
				vinc2_rear_sensor_sel = <0>;
				vinc2_front_sensor_sel = <1>;
				vinc2_sensor_list = <0>;
				status = "okay";
			};
			vinc3:vinc@3 {
				vinc3_csi_sel = <1>;
				vinc3_mipi_sel = <1>;
				vinc3_isp_sel = <0>;
				vinc3_isp_tx_ch = <0>;
				vinc3_tdm_rx_sel = <0xff>;
				vinc3_rear_sensor_sel = <0>;
				vinc3_front_sensor_sel = <1>;
				vinc3_sensor_list = <0>;
				status = "okay";
			};
		};

/*
		hall_para {
			hall_name = "MH248";
			status = "disabled";
			hall_int_port = <&r_pio PL 9 6 1 0xffffffff 0xffffffff>;
		};
*/
		keyboard {
			compatible = "allwinner,keyboard_1350mv";
			status = "okay";
			key_cnt = <1>;
			key0 = <590 KEY_RESERVED>;
			//key0 = <475 0x7372>;
			//key1 = <646 0x73>;
			//key2 = <897 0x72>;
		};

                wlan: wlan@0 {
                        compatible    = "allwinner,sunxi-wlan";
                        clocks;
                        pinctrl-0;
                        pinctrl-names;
                        wlan_busnum   = <0x1>;
                        wlan_power    = "axp803-dldo1";
                        wlan_io_regulator;
                        wlan_regon    = <&pio PG 10 1 0xffffffff 0xffffffff 1>;
                        wlan_hostwake = <&pio PG 13 6 0xffffffff 0xffffffff 0>;
                        //chip_en;
                        //power_en      = <&pio PG 10 1 0xffffffff 0xffffffff 0>;
                        status        = "okay";
                };

                bt: bt@0 {
                        compatible    = "allwinner,sunxi-bt";
			clocks        = <&clk_losc_out>, <&clk_dcxo_out>;
                        bt_power      = "axp803-dldo1";
                        bt_io_regulator;
                        bt_rst_n      = <&r_pio PH 11 1 0xffffffff 0xffffffff 0>;
                        status        = "okay";
                };

                btlpm: btlpm@0 {
                        compatible  = "allwinner,sunxi-btlpm";
                        uart_index  = <0x1>;
                        bt_wake     = <&pio PG 12 1 0xffffffff 0xffffffff 1>;
                        bt_hostwake = <&pio PG 11 6 0xffffffff 0xffffffff 1>;
                        status      = "okay";
                };

/*
		wlan: wlan@0 {
			compatible    = "allwinner,sunxi-wlan";
			clocks        = <&clk_losc_out>, <&clk_dcxo_out>;
			pinctrl-0;
			pinctrl-names;
			wlan_busnum   = <0x1>;
			wlan_power    = "axp803-dldo1";
			wlan_io_regulator;
			wlan_regon    = <&pio PG 10 1 0xffffffff 0xffffffff 0>;
			wlan_hostwake = <&pio PG 13 6 0xffffffff 0xffffffff 0>;
			chip_en;
			power_en;
			status        = "okay";
		};

		bt: bt@0 {
			compatible    = "allwinner,sunxi-bt";
			clocks        = <&clk_losc_out>, <&clk_dcxo_out>;
			bt_power      = "axp803-dldo1";
			//bt_power      = "axp803-dldo1";
			bt_io_regulator;
			//bt_rst_n      = <&r_pio PL 2 1 0xffffffff 0xffffffff 0>;
			status        = "okay";
		};

		btlpm: btlpm@0 {
			compatible  = "allwinner,sunxi-btlpm";
			uart_index  = <0x1>;
			bt_wake     = <&pio PG 11 1 0xffffffff 0xffffffff 1>;
			bt_hostwake = <&pio PG 12 6 0xffffffff 0xffffffff 1>;
			status      = "okay";
		};
*/
		addr_mgt: addr_mgt@0 {
			compatible     = "allwinner,sunxi-addr_mgt";
			type_addr_wifi = <0x0>;
			type_addr_bt   = <0x0>;
			type_addr_eth  = <0x0>;
			status         = "okay";
		};
		uart0: uart@05000000 {
			uart-supply = <&reg_dcdc1>;
		};

		uart1: uart@05000400 {
			status = "okay";
		};

		uart2: uart@05000800 {
			status = "okay";
		};

		uart3: uart@05000c00 {
			status = "disabled";
		};

		uart4: uart@05001000 {
			status = "disabled";
		};
	
		uart7: uart@07080000 {
			status = "okay";
		};
	};
	gpu: gpu@0x01800000 {
			gpu_idle = <1>;/*ic version ctrl*/
			dvfs_status = <1>;
			pll_rate = <504000>;
			independent_power = <0>;
			operating-points = <
				 /* KHz   uV */
				504000 950000
				472500 950000
				441000 950000
				252000 950000
			 >;
			 gpu-supply = <&reg_dcdc4>;
	};
	
	leds {
			compatible = "gpio-leds";
			pinctrl-names = "default";
			status = "okay";

			sysled {
				label = "sysled";
				gpios = <&r_pio PL 10 1 0 1 1>;
				linux,default_trigger = "heartbeat";
			};

            spk_en {
                label = "spk_en";
                gpios = <&pio PB 7 1 0 1 0>;
				linux,default_trigger = "default-on";
            };

			fan_en {
				label = "fan_en";
				gpios = <&r_pio PL 7 1 0 1 0>;
				linux,default_trigger = "default-on";
			};

			PH8 {
				label = "PH8";
				gpios = <&pio PH 8 1 0 1 0>;
				linux,default_trigger = "default-on";
			};

			PC2 {
				label = "PC2";
				gpios = <&pio PC 2 1 0 1 0>;
				linux,default_trigger = "default-on";
			};

			PC3 {
				label = "PC3";
				gpios = <&pio PC 3 1 0 1 0>;
				linux,default_trigger = "default-on";
			};

			PC4 {
				label = "PC4";
				gpios = <&pio PC 4 1 0 1 0>;
				linux,default_trigger = "default-on";
			};

			PC7 {
				label = "PC7";
				gpios = <&pio PC 7 1 0 1 0>;
				linux,default_trigger = "default-on";
			};

			PC12 {
				label = "PC12";
				gpios = <&pio PC 12 1 0 1 0>;
				linux,default_trigger = "default-on";
			};
			
//			PL2 {
//				label = "PL2";
//				gpios = <&r_pio PL 2 1 0 1 0>;
//				linux,default_trigger = "default-on";
//			};
//
//			PL3 {
//				label = "PL3";
//				gpios = <&r_pio PL 3 1 0 1 0>;
//				linux,default_trigger = "default-on";
//			};

			PL4 {
				label = "PL4";
				gpios = <&r_pio PL 4 1 0 1 0>;
				linux,default_trigger = "default-on";
			};

			PL5 {
				label = "PL5";
				gpios = <&r_pio PL 5 1 0 1 0>;
				linux,default_trigger = "default-on";
			};
        };
};

&cpu0 {
	cpu-supply = <&reg_dcdc2>;
};

&s_cir0 {
	status = "okay";

	pinctrl-names = "default", "sleep";
	pinctrl-0 = <&s_cir0_pins_a>;
	pinctrl-1 = <&s_cir0_pins_a>;

	s_cir0_used = <1>;
	ir_power_key_code0 = <0x4d>;
	ir_addr_code0 = <0x4040>;
	ir_power_key_code1 = <0x51>;
	ir_addr_code1 = <0x7f80>;
	ir_power_key_code2 = <0x1c>;
	ir_addr_code2 = <0xdf00>;
	wakeup-source;
};


&gmac0 {
	/delete-property/ phy-rst;
   	rx-delay = <7>;

   phy-mode = "rgmii";
   tx-delay = <7>;
   usb_ephy25m = <1>;

   gmac-power0 = <&reg_aldo3>;
   gmac-power1 = <&reg_fldo1>;
   gmac-power2 = <&reg_eldo2>;

   gmac-power0-vol = <3300000>;
   gmac-power1-vol = <1200000>;
   gmac-power2-vol = <1800000>;

   status = "okay";
};

&ir0 {
	status = "disabled";
};

&sensor0 {
	status = "disabled";
};

&sensor1 {
	status = "disabled";
};

&disp {
	boot_disp = <1>;
};

&sndcodec {
	hp_detect_case = <0x01>;
	noheadphonemic = <1>;
};

&gmac_pins_a {
	allwinner,pins = "PH0", "PH1", "PH2", "PH3",
						"PH4", "PH5", "PH6", "PH7",
						"PH9", "PH10", "PH14",
						"PH15", "PH16", "PH17", "PH18";
	allwinner,function = "gmac0";
	allwinner,muxsel = <5>;
	allwinner,drive = <3>;
	allwinner,pull = <0xffffffff>;
	allwinner,data = <0xffffffff>;
};

&gmac_pins_b {
	allwinner,pins = "PH0", "PH1", "PH2", "PH3",
						"PH4", "PH5", "PH6", "PH7",
						"PH9", "PH10", "PH14",
						"PH15", "PH16", "PH17", "PH18";
	allwinner,function = "io_disabled";
	allwinner,muxsel = <7>;
	allwinner,drive = <3>;
	allwinner,pull = <0>;
};

&uart2_pins_a {
	allwinner,pins = "PB0", "PB1";
    allwinner,pname = "uart2_tx", "uart2_rx";
};

&uart2_pins_b {
	allwinner,pins = "PB0", "PB1";
};

//#include "lcd-lvds-7-1024-600.dtsi"
//#include "lcd-lvds-21-1920-1080.dtsi"
//#include "lcd-mipi-10-800-1280-v1.dtsi"
//#include "lcd-mipi-10-800-1280-v2.dtsi"
//#include "lcd-mipi-8-800-1280.dtsi"
#include "lcd-mipi-5-720-1280.dtsi"
